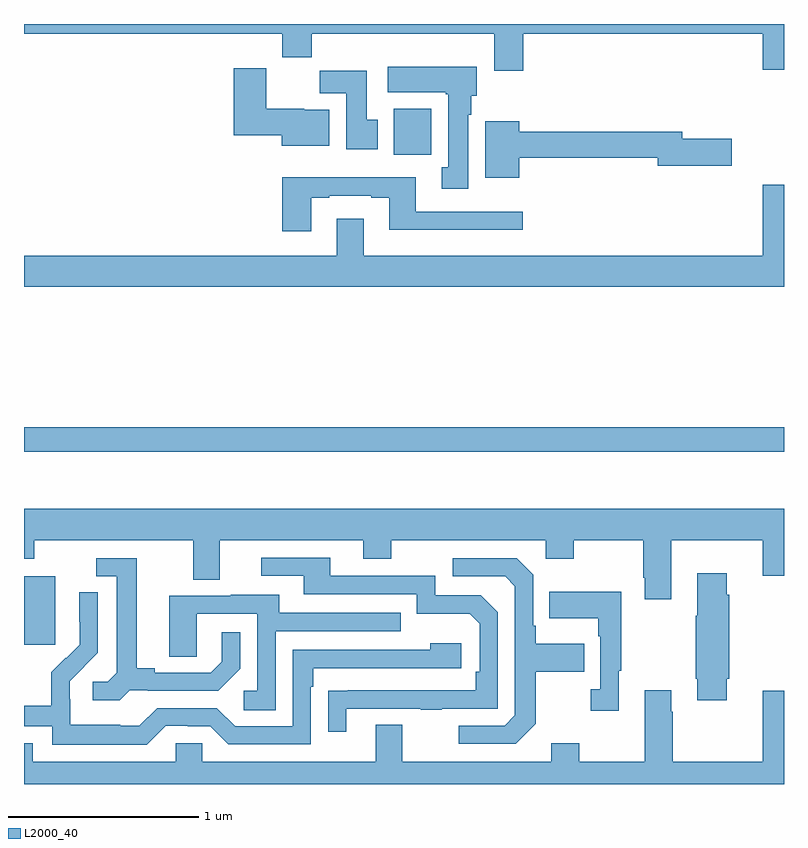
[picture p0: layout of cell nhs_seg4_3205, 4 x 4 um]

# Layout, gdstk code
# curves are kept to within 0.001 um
import gdstk
lib = gdstk.Library(unit=1e-6, precision=1e-09)
def R(c, l, rs):  # rectangles x0, y0, x1, y1
    for r in rs: c.add(gdstk.rectangle(r[:2], r[2:], *l))
def P(c, l, *ps):  # polygons
    for p in ps: c.add(gdstk.Polygon(p, *l))
L2000_40 = (2000, 40)

nhs_seg4_3205 = lib.new_cell('nhs_seg4_3205')
R(nhs_seg4_3205, L2000_40, [(281,765.633,281.164,765.994), (281,766.65,285,766.778), (282.947,768.212,283.144,768.454)])
P(nhs_seg4_3205, L2000_40, [(283.628,768.848),(284.888,768.848),(284.888,768.66),(285,768.66),(285,768.9),(281,768.9),(281,768.848),(282.359,768.848),(282.359,768.724),(282.515,768.724),(282.515,768.848),(283.475,768.848),(283.475,768.654),(283.628,768.654)],
  [(283.339,768.422),(283.354,768.422),(283.354,768.522),(283.384,768.522),(283.384,768.676),(282.915,768.676),(282.915,768.542),(283.219,768.542),(283.219,768.529),(283.232,768.529),(283.232,768.146),(283.199,768.146),(283.199,768.033),(283.339,768.033)],
  [(282.607,768.448),(282.474,768.448),(282.474,768.454),(282.274,768.454),(282.274,768.667),(282.104,768.667),(282.104,768.314),(282.356,768.314),(282.356,768.26),(282.607,768.26)],
  [(282.862,768.396),(282.805,768.396),(282.805,768.655),(282.556,768.655),(282.556,768.536),(282.695,768.536),(282.695,768.24),(282.862,768.24)],
  [(283.606,768.196),(284.336,768.196),(284.336,768.154),(284.725,768.154),(284.725,768.296),(284.464,768.296),(284.464,768.332),(283.606,768.332),(283.606,768.388),(283.427,768.388),(283.427,768.092),(283.606,768.092)],
  [(282.511,767.985),(282.607,767.985),(282.607,767.997),(282.827,767.997),(282.827,767.985),(282.923,767.985),(282.923,767.816),(283.624,767.816),(283.624,767.913),(283.063,767.913),(283.063,768.094),(282.359,768.094),(282.359,767.808),(282.511,767.808)],
  [(285,768.055),(284.888,768.055),(284.888,767.68),(282.787,767.68),(282.787,767.875),(282.647,767.875),(282.647,767.68),(281,767.68),(281,767.516),(285,767.516)],
  [(284.407,766.184),(284.888,766.184),(284.888,765.996),(285,765.996),(285,766.348),(281,766.348),(281,766.085),(281.055,766.085),(281.055,766.184),(281.891,766.184),(281.891,765.976),(282.031,765.976),(282.031,766.184),(282.785,766.184),(282.785,766.085),(282.933,766.085),(282.933,766.184),(283.746,766.184),(283.746,766.085),(283.893,766.085),(283.893,766.184),(284.26,766.184),(284.26,765.985),(284.267,765.985),(284.267,765.873),(284.407,765.873)],
  [(282.697,765.297),(283.087,765.297),(283.087,765.292),(283.199,765.292),(283.199,765.297),(283.494,765.297),(283.494,765.804),(283.404,765.894),(283.164,765.894),(283.164,765.996),(282.613,765.996),(282.613,766.092),(282.249,766.092),(282.249,765.996),(282.473,765.996),(282.473,765.9),(283.068,765.9),(283.068,765.797),(283.345,765.797),(283.398,765.744),(283.398,765.49),(283.378,765.49),(283.378,765.393),(282.601,765.392),(282.601,765.174),(282.697,765.174)],
  [(283.693,765.217),(283.693,765.49),(283.949,765.49),(283.949,765.637),(283.693,765.637),(283.693,765.733),(283.68,765.733),(283.68,766.002),(283.593,766.089),(283.257,766.089),(283.257,765.993),(283.533,765.993),(283.584,765.942),(283.584,765.261),(283.53,765.207),(283.287,765.207),(283.287,765.111),(283.587,765.111)],
  [(281.556,765.393),(281.65,765.393),(281.65,765.39),(282.022,765.39),(282.138,765.506),(282.138,765.7),(282.041,765.7),(282.041,765.543),(281.984,765.486),(281.689,765.486),(281.689,765.509),(281.593,765.509),(281.593,766.089),(281.379,766.089),(281.379,765.993),(281.489,765.993),(281.489,765.485),(281.442,765.438),(281.361,765.438),(281.361,765.341),(281.504,765.341)],
  [(284.698,765.454),(284.711,765.454),(284.711,765.896),(284.698,765.896),(284.698,766.009),(284.543,766.009),(284.543,765.785),(284.536,765.785),(284.536,765.454),(284.543,765.454),(284.543,765.342),(284.698,765.342)],
  [(284.131,765.497),(284.143,765.497),(284.143,765.913),(283.765,765.913),(283.765,765.773),(284.022,765.773),(284.022,765.677),(284.034,765.677),(284.034,765.398),(283.983,765.398),(283.983,765.285),(284.131,765.285)],
  [(281.745,765.207),(281.861,765.207),(281.861,765.204),(281.979,765.204),(282.075,765.108),(282.51,765.108),(282.51,765.413),(282.523,765.413),(282.523,765.51),(283.3,765.51),(283.3,765.64),(283.139,765.64),(283.139,765.606),(282.414,765.606),(282.414,765.204),(282.111,765.204),(282.015,765.3),(281.7,765.3),(281.607,765.207),(281.507,765.207),(281.507,765.211),(281.244,765.211),(281.244,765.345),(281.242,765.345),(281.242,765.442),(281.388,765.59),(281.388,765.908),(281.292,765.908),(281.292,765.754),(281.294,765.754),(281.294,765.632),(281.223,765.561),(281.22,765.564),(281.143,765.487),(281.143,765.313),(281,765.313),(281,765.204),(281.148,765.204),(281.148,765.107),(281.645,765.107)],
  [(282.324,765.705),(282.983,765.705),(282.983,765.801),(282.343,765.801),(282.343,765.895),(282.089,765.895),(282.089,765.891),(281.765,765.891),(281.765,765.571),(281.91,765.571),(281.91,765.795),(282.228,765.795),(282.228,765.39),(282.156,765.39),(282.156,765.289),(282.324,765.289)],
  [(285,765.391),(284.888,765.391),(284.888,765.016),(284.415,765.016),(284.415,765.281),(284.407,765.281),(284.407,765.394),(284.267,765.394),(284.267,765.016),(283.923,765.016),(283.923,765.115),(283.775,765.115),(283.775,765.016),(282.991,765.016),(282.991,765.211),(282.851,765.211),(282.851,765.016),(281.937,765.016),(281.937,765.114),(281.799,765.114),(281.799,765.016),(281.047,765.016),(281.047,765.115),(281,765.115),(281,764.9),(285,764.9)])

lib.write_gds('nhs_seg4_3205.gds')
